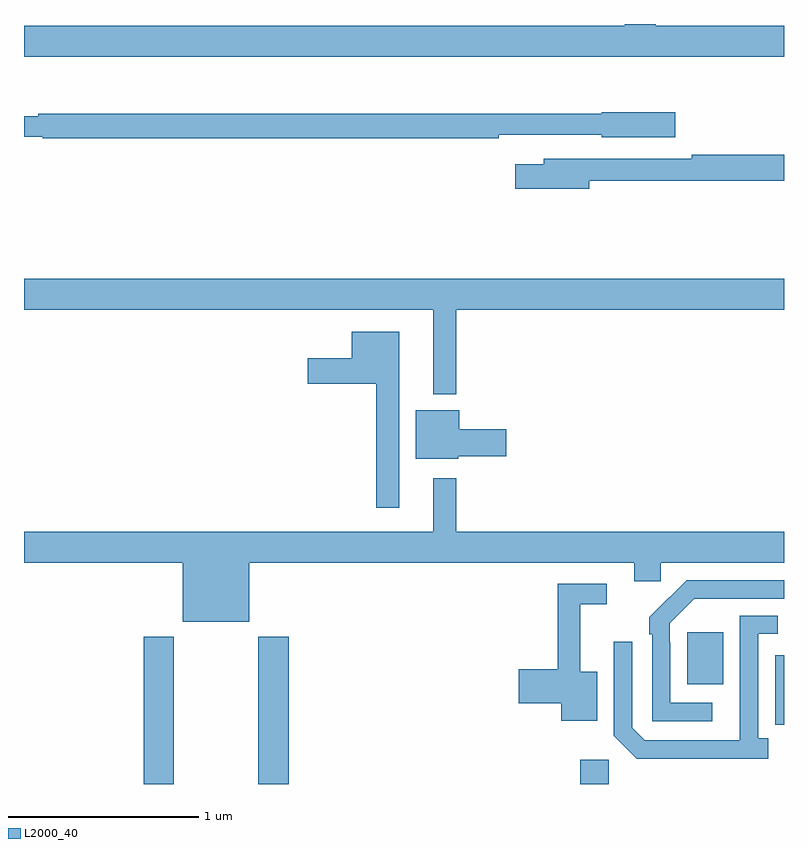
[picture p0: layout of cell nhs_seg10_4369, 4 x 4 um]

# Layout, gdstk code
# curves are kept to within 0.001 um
import gdstk
lib = gdstk.Library(unit=1e-6, precision=1e-09)
def R(c, l, rs):  # rectangles x0, y0, x1, y1
    for r in rs: c.add(gdstk.rectangle(r[:2], r[2:], *l))
def P(c, l, *ps):  # polygons
    for p in ps: c.add(gdstk.Polygon(p, *l))
L2000_40 = (2000, 40)

nhs_seg10_4369 = lib.new_cell('nhs_seg10_4369')
R(nhs_seg10_4369, L2000_40, [(357.629,1284.5,357.789,1285.276), (358.234,1284.5,358.394,1285.276), (359.927,1284.5,360.078,1284.628), (360.491,1285.025,360.679,1285.3)])
P(nhs_seg10_4369, L2000_40, [(361,1288.492),(360.326,1288.492),(360.326,1288.5),(360.161,1288.5),(360.161,1288.492),(357,1288.492),(357,1288.328),(361,1288.328)],
  [(359.498,1287.918),(360.042,1287.918),(360.042,1287.905),(360.427,1287.905),(360.427,1288.035),(360.042,1288.035),(360.042,1288.027),(357.076,1288.027),(357.076,1288.014),(357,1288.014),(357,1287.906),(357.098,1287.906),(357.098,1287.898),(359.498,1287.898)],
  [(359.974,1287.676),(361,1287.676),(361,1287.812),(360.514,1287.812),(360.514,1287.792),(359.735,1287.792),(359.735,1287.763),(359.586,1287.763),(359.586,1287.634),(359.974,1287.634)],
  [(359.275,1286.996),(361,1286.996),(361,1287.16),(357,1287.16),(357,1286.996),(359.153,1286.996),(359.153,1286.552),(359.275,1286.552)],
  [(358.975,1286.881),(358.724,1286.881),(358.724,1286.74),(358.494,1286.74),(358.494,1286.606),(358.854,1286.606),(358.854,1285.953),(358.975,1285.953)],
  [(359.286,1286.224),(359.539,1286.224),(359.539,1286.366),(359.29,1286.366),(359.29,1286.467),(359.063,1286.467),(359.063,1286.213),(359.286,1286.213)],
  [(359.153,1286.11),(359.153,1285.828),(357,1285.828),(357,1285.664),(357.836,1285.664),(357.836,1285.355),(358.186,1285.355),(358.186,1285.664),(360.212,1285.664),(360.212,1285.566),(360.351,1285.566),(360.351,1285.664),(361,1285.664),(361,1285.828),(359.275,1285.828),(359.275,1286.11)],
  [(360.622,1284.927),(360.402,1284.927),(360.402,1285.247),(360.399,1285.247),(360.399,1285.347),(360.528,1285.476),(361,1285.476),(361,1285.572),(360.488,1285.572),(360.291,1285.377),(360.291,1285.289),(360.306,1285.289),(360.306,1284.831),(360.622,1284.831)],
  [(360.016,1285.09),(359.927,1285.09),(359.927,1285.446),(360.067,1285.446),(360.067,1285.554),(359.809,1285.554),(359.809,1285.103),(359.604,1285.103),(359.604,1284.925),(359.828,1284.925),(359.828,1284.833),(360.016,1284.833)],
  [(360.916,1284.742),(360.864,1284.742),(360.864,1285.29),(360.967,1285.29),(360.967,1285.386),(360.768,1285.386),(360.767,1284.729),(360.267,1284.729),(360.201,1284.795),(360.201,1285.249),(360.105,1285.249),(360.105,1284.753),(360.226,1284.632),(360.916,1284.632)],
  [(361,1285.177),(360.954,1285.177),(360.954,1284.922),(360.955,1284.922),(360.955,1284.813),(361,1284.813)])

lib.write_gds('nhs_seg10_4369.gds')
